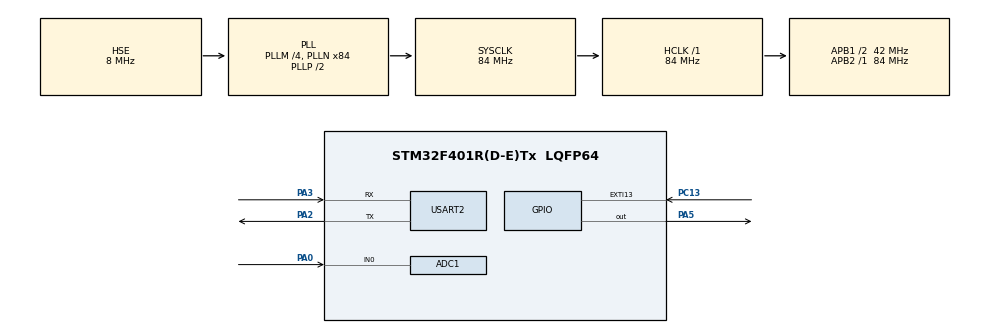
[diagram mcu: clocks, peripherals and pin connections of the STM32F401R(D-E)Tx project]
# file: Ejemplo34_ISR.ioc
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ADC1.Channel-0\#ChannelRegularConversion=ADC_CHANNEL_0
ADC1.NbrOfConversionFlag=1
ADC1.Rank-0\#ChannelRegularConversion=1
ADC1.SamplingTime-0\#ChannelRegularConversion=ADC_SAMPLETIME_3CYCLES
ADC1.master=1
Mcu.Family=STM32F4
Mcu.Name=STM32F401R(D-E)Tx
Mcu.Package=LQFP64
NVIC.EXTI15_10_IRQn=true\:6\:0\:true\:false\:true\:true\:true\:true
NVIC.PriorityGroup=NVIC_PRIORITYGROUP_4
NVIC.TIM1_TRG_COM_TIM11_IRQn=true\:15\:0\:false\:false\:true\:false\:true\:true
NVIC.TimeBase=TIM1_TRG_COM_TIM11_IRQn
NVIC.TimeBaseIP=TIM11
NVIC.USART2_IRQn=true\:5\:0\:true\:false\:true\:true\:true\:true
PA0-WKUP.Signal=ADCx_IN0
PA2.Mode=Asynchronous
PA2.Signal=USART2_TX
PA3.Mode=Asynchronous
PA3.Signal=USART2_RX
PA5.Signal=GPIO_Output
PC13-ANTI_TAMP.GPIO_ModeDefaultEXTI=GPIO_MODE_IT_FALLING
PC13-ANTI_TAMP.GPIO_PuPd=GPIO_PULLUP
PC13-ANTI_TAMP.Signal=GPXTI13
PH0\ -\ OSC_IN.Mode=HSE-External-Clock-Source
PH0\ -\ OSC_IN.Signal=RCC_OSC_IN
PH1\ -\ OSC_OUT.Mode=HSE-External-Clock-Source
PH1\ -\ OSC_OUT.Signal=RCC_OSC_OUT
ProjectManager.HeapSize=0x200
ProjectManager.StackSize=0x400
ProjectManager.TargetToolchain=STM32CubeIDE
RCC.48MHZClocksFreq_Value=42000000
RCC.AHBFreq_Value=84000000
RCC.APB1CLKDivider=RCC_HCLK_DIV2
RCC.APB1Freq_Value=42000000
RCC.APB1TimFreq_Value=84000000
RCC.APB2Freq_Value=84000000
RCC.APB2TimFreq_Value=84000000
RCC.CortexFreq_Value=84000000
RCC.HCLKFreq_Value=84000000
RCC.HSE_VALUE=8000000
RCC.HSI_VALUE=16000000
RCC.LSE_VALUE=32768
RCC.PLLM=4
RCC.PLLN=84
RCC.PLLSourceVirtual=RCC_PLLSOURCE_HSE
RCC.SYSCLKFreq_VALUE=84000000
RCC.SYSCLKSource=RCC_SYSCLKSOURCE_PLLCLK
RCC.VCOOutputFreq_Value=168000000
SH.ADCx_IN0.0=ADC1_IN0,IN0
USART2.VirtualMode=VM_ASYNC
VP_SYS_VS_tim11.Mode=TIM11
board=custom

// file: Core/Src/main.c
/* USER CODE BEGIN Header */
/**
  ******************************************************************************
  * @file           : main.c
  * @brief          : Main program body
  ******************************************************************************
  * @attention
  *
  * Copyright (c) 2022 STMicroelectronics.
  * All rights reserved.
  *
  * This software is licensed under terms that can be found in the LICENSE file
  * in the root directory of this software component.
  * If no LICENSE file comes with this software, it is provided AS-IS.
  *
  ******************************************************************************
  */
/* USER CODE END Header */
#include "main.h"
#include "adc.h"
#include "usart.h"
#include "gpio.h"

/* USER CODE BEGIN Includes */
#include "FreeRTOS.h"
#include "task.h"
#include "queue.h"
#include "semphr.h"

#include <stdio.h>
#include <stdarg.h>
#include <string.h>
/* USER CODE END Includes */

/* USER CODE BEGIN PTD */
typedef struct{
	uint8_t channel;
	uint16_t Value;
}ADC_t;

typedef struct{
	uint8_t buffer[20];
	uint8_t i;
	uint8_t Ubyte;

}UART_t;

/* USER CODE END PTD */

/* USER CODE BEGIN PM */
/**
 * 0 : no se desea usar segger system view
 * 1 : se usa para la depuracion
 */
#define SYSTEM_VIEW				1
/* USER CODE END PM */

void SystemClock_Config(void);
/* USER CODE BEGIN PFP */

void UART_Printf(char *format,...);
/* USER CODE END PFP */

/* USER CODE BEGIN 0 */

xTaskHandle xTask1;
xTaskHandle xTask2;
xTaskHandle xTask3;

xQueueHandle xQueueUART;
xQueueHandle xQueueADC;

xSemaphoreHandle xSemaphExtern;
xSemaphoreHandle xSemaphUART;

void vTask1(void *params);
void vTask2(void *params);
void vTask3(void *params);
/* USER CODE END 0 */

int main(void)
{
  /* USER CODE BEGIN 1 */
	BaseType_t status=0;
  /* USER CODE END 1 */

  /* MCU Configuration--------------------------------------------------------*/

  /* Reset of all peripherals, Initializes the Flash interface and the Systick. */
  HAL_Init();

  /* Configure the system clock */
  SystemClock_Config();

  /* Initialize all configured peripherals */
  MX_GPIO_Init();
  MX_USART2_UART_Init();
  MX_ADC1_Init();
  /* USER CODE BEGIN 2 */
#if SYSTEM_VIEW
  DWT->CTRL |= 1;
  SEGGER_SYSVIEW_Conf();
  /*solo se va usar cuando se trabaje en modo one shot*/
//  SEGGER_SYSVIEW_Start();

#endif

  status= xTaskCreate(vTask1, "tarea1", 400, NULL, 0, xTask1);
  configASSERT(status == pdPASS);

  status= xTaskCreate(vTask2, "tarea2", 400, NULL, 0, xTask2);
  configASSERT(status == pdPASS);

  status= xTaskCreate(vTask3, "tarea3", 400, NULL, 0, xTask3);
  configASSERT(status == pdPASS);

   xQueueADC = xQueueCreate(5,sizeof(ADC_t));
   configASSERT(xQueueADC != NULL);

   xQueueUART = xQueueCreate(15,sizeof(UART_t));
   configASSERT(xQueueUART != NULL);

   xSemaphExtern = xSemaphoreCreateBinary();
   configASSERT(xSemaphExtern != NULL);

   xSemaphUART = xSemaphoreCreateMutex();
   configASSERT(xSemaphUART != NULL);

  /* inicializa el kernel*/
  vTaskStartScheduler();
  /* USER CODE END 2 */

  /* Infinite loop */
  while (1)
  {

  }
}

void SystemClock_Config(void)
{
  RCC_OscInitTypeDef RCC_OscInitStruct = {0};
  RCC_ClkInitTypeDef RCC_ClkInitStruct = {0};

  /** Configure the main internal regulator output voltage
  */
  __HAL_RCC_PWR_CLK_ENABLE();
  __HAL_PWR_VOLTAGESCALING_CONFIG(PWR_REGULATOR_VOLTAGE_SCALE2);

  /** Initializes the RCC Oscillators according to the specified parameters
  * in the RCC_OscInitTypeDef structure.
  */
  RCC_OscInitStruct.OscillatorType = RCC_OSCILLATORTYPE_HSE;
  RCC_OscInitStruct.HSEState = RCC_HSE_BYPASS;
  RCC_OscInitStruct.PLL.PLLState = RCC_PLL_ON;
  RCC_OscInitStruct.PLL.PLLSource = RCC_PLLSOURCE_HSE;
  RCC_OscInitStruct.PLL.PLLM = 4;
  RCC_OscInitStruct.PLL.PLLN = 84;
  RCC_OscInitStruct.PLL.PLLP = RCC_PLLP_DIV2;
  RCC_OscInitStruct.PLL.PLLQ = 4;
  if (HAL_RCC_OscConfig(&RCC_OscInitStruct) != HAL_OK)
  {
    Error_Handler();
  }

  /** Initializes the CPU, AHB and APB buses clocks
  */
  RCC_ClkInitStruct.ClockType = RCC_CLOCKTYPE_HCLK|RCC_CLOCKTYPE_SYSCLK
                              |RCC_CLOCKTYPE_PCLK1|RCC_CLOCKTYPE_PCLK2;
  RCC_ClkInitStruct.SYSCLKSource = RCC_SYSCLKSOURCE_PLLCLK;
  RCC_ClkInitStruct.AHBCLKDivider = RCC_SYSCLK_DIV1;
  RCC_ClkInitStruct.APB1CLKDivider = RCC_HCLK_DIV2;
  RCC_ClkInitStruct.APB2CLKDivider = RCC_HCLK_DIV1;

  if (HAL_RCC_ClockConfig(&RCC_ClkInitStruct, FLASH_LATENCY_2) != HAL_OK)
  {
    Error_Handler();
  }
}

/* USER CODE BEGIN 4 */

void vTask1(void *params){

	for (;;) {

		if (xSemaphoreTake(xSemaphExtern,portMAX_DELAY)) {
			HAL_GPIO_TogglePin(GPIOA, GPIO_PIN_5);
			SEGGER_SYSVIEW_PrintfHost("Semaforo Recibido de EXT INT\n\r");
			UART_Printf("Semaforo Recibido de EXT INT\n\r");
		}
		vTaskDelay(pdMS_TO_TICKS(250));

	}
vTaskDelete(NULL);
}

void vTask2(void *params){

	ADC_t task_data;

	for(;;){

		HAL_ADC_Start(&hadc1);
		HAL_Delay(1);
		task_data.Value = HAL_ADC_GetValue(&hadc1);
		task_data.channel = 0;

		if (xQueueSend(xQueueADC,&task_data,portMAX_DELAY)) {
			SEGGER_SYSVIEW_PrintfHost("QUEUE ADC SEND");
		}
		vTaskDelay(pdMS_TO_TICKS(2000));

	}
	vTaskDelete(NULL);

}

void vTask3(void *params){

	 huart2.Instance->CR1 &= ~ USART_CR1_UE;
	 huart2.Instance->CR1 |= USART_CR1_RE;
	 huart2.Instance->CR1 |= USART_CR1_RXNEIE;

	 HAL_NVIC_SetPriority(USART2_IRQn, 5, 0);
	 HAL_NVIC_EnableIRQ(USART2_IRQn);
	 huart2.Instance->CR1 |= USART_CR1_UE;

	 UART_t task_uart;

	for(;;){

		if (xQueueReceive(xQueueUART, (void *)&task_uart, 9000)) {

			UART_Printf("buffer : %s\n\r",task_uart.buffer);
			UART_Printf("i : %u\n\r",task_uart.i);
			UART_Printf("Ultimo Byte : %X\n\r",task_uart.Ubyte);
		}else{
			UART_Printf("Escribeme :C\n\r");
		}
	}
	vTaskDelete(NULL);

}

void HAL_GPIO_EXTI_Callback(uint16_t GPIO_Pin)
{

	xSemaphoreGiveFromISR(xSemaphExtern,NULL);

}

void UART_Printf(char *format,...){
    char str[80];

    /*Extract the the argument list using VA apis */
    va_list args;
    va_start(args, format);
    vsprintf(str, format,args);
    if (xSemaphoreTake(xSemaphUART,(TickType_t)15)) {
    	 HAL_UART_Transmit(&huart2, (uint8_t*)str, strlen(str), 10);
	}

    va_end(args);
    xSemaphoreGive(xSemaphUART);
}
/* USER CODE END 4 */

void HAL_TIM_PeriodElapsedCallback(TIM_HandleTypeDef *htim)
{
  if (htim->Instance == TIM11) {
    HAL_IncTick();
  }
}

void Error_Handler(void)
{
  __disable_irq();
  while (1)
  {
  }
}
